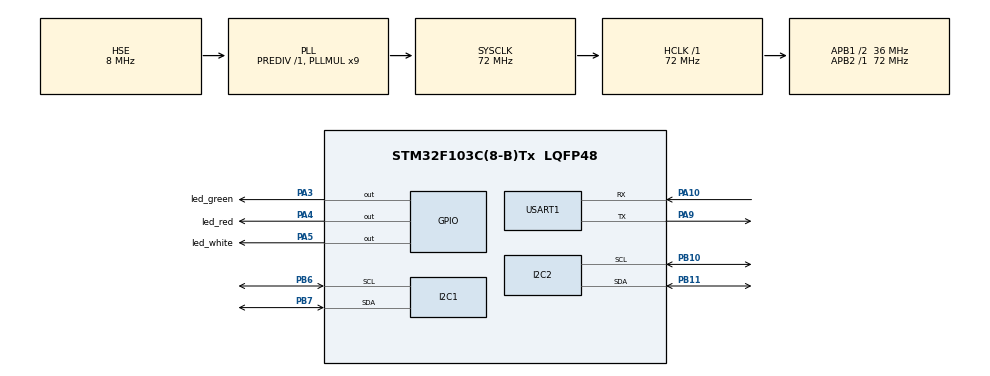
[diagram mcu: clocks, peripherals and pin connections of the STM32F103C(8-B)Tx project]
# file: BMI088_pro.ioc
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Mcu.Family=STM32F1
Mcu.Name=STM32F103C(8-B)Tx
Mcu.Package=LQFP48
NVIC.PriorityGroup=NVIC_PRIORITYGROUP_4
NVIC.TIM2_IRQn=true\:0\:0\:false\:false\:true\:true\:true
PA10.Mode=Asynchronous
PA10.Signal=USART1_RX
PA13.Mode=Trace_Asynchronous_SW
PA13.Signal=SYS_JTMS-SWDIO
PA14.Mode=Trace_Asynchronous_SW
PA14.Signal=SYS_JTCK-SWCLK
PA3.GPIO_Label=led_green
PA3.GPIO_ModeDefaultOutputPP=GPIO_MODE_OUTPUT_OD
PA3.GPIO_PuPd=GPIO_NOPULL
PA3.PinState=GPIO_PIN_SET
PA3.Signal=GPIO_Output
PA4.GPIO_Label=led_red
PA4.GPIO_ModeDefaultOutputPP=GPIO_MODE_OUTPUT_OD
PA4.GPIO_PuPd=GPIO_NOPULL
PA4.PinState=GPIO_PIN_SET
PA4.Signal=GPIO_Output
PA5.GPIO_Label=led_white
PA5.GPIO_ModeDefaultOutputPP=GPIO_MODE_OUTPUT_OD
PA5.GPIO_PuPd=GPIO_NOPULL
PA5.PinState=GPIO_PIN_SET
PA5.Signal=GPIO_Output
PA9.Mode=Asynchronous
PA9.Signal=USART1_TX
PB10.Mode=I2C
PB10.Signal=I2C2_SCL
PB11.Mode=I2C
PB11.Signal=I2C2_SDA
PB3.Mode=Trace_Asynchronous_SW
PB3.Signal=SYS_JTDO-TRACESWO
PB6.Mode=I2C
PB6.Signal=I2C1_SCL
PB7.Mode=I2C
PB7.Signal=I2C1_SDA
PC14-OSC32_IN.Mode=LSE-External-Oscillator
PC14-OSC32_IN.Signal=RCC_OSC32_IN
PC15-OSC32_OUT.Mode=LSE-External-Oscillator
PC15-OSC32_OUT.Signal=RCC_OSC32_OUT
PD0-OSC_IN.Mode=HSE-External-Oscillator
PD0-OSC_IN.Signal=RCC_OSC_IN
PD1-OSC_OUT.Mode=HSE-External-Oscillator
PD1-OSC_OUT.Signal=RCC_OSC_OUT
ProjectManager.HeapSize=0x200
ProjectManager.StackSize=0x400
ProjectManager.TargetToolchain=STM32CubeIDE
RCC.AHBFreq_Value=72000000
RCC.APB1CLKDivider=RCC_HCLK_DIV2
RCC.APB1Freq_Value=36000000
RCC.APB1TimFreq_Value=72000000
RCC.APB2Freq_Value=72000000
RCC.APB2TimFreq_Value=72000000
RCC.HCLKFreq_Value=72000000
RCC.PLLMUL=RCC_PLL_MUL9
RCC.PLLSourceVirtual=RCC_PLLSOURCE_HSE
RCC.SYSCLKFreq_VALUE=72000000
RCC.SYSCLKSource=RCC_SYSCLKSOURCE_PLLCLK
RCC.USBFreq_Value=72000000
TIM2.AutoReloadPreload=TIM_AUTORELOAD_PRELOAD_ENABLE
TIM2.Period=999
TIM2.Prescaler=7199
USART1.VirtualMode=VM_ASYNC
VP_TIM2_VS_ClockSourceINT.Mode=Internal
board=custom

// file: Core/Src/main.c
/* USER CODE BEGIN Header */
/**
  ******************************************************************************
  * @file           : main.c
  * @brief          : Main program body
  ******************************************************************************
  * @attention
  *
  * Copyright (c) 2022 STMicroelectronics.
  * All rights reserved.
  *
  * This software is licensed under terms that can be found in the LICENSE file
  * in the root directory of this software component.
  * If no LICENSE file comes with this software, it is provided AS-IS.
  *
  ******************************************************************************
  */
/* USER CODE END Header */
#include "main.h"

/* USER CODE BEGIN Includes */
#include "bmi08x.h"
#include "stdio.h"
#include "bmm150.h"
#include <math.h>
/* USER CODE END Includes */

/* USER CODE BEGIN PTD */
#ifdef __GNUC__
#define PUTCHAR_PROTOTYPE int __io_putchar(int ch)
#else
#define PUTCHAR_PROTOTYPE int fputc(int ch. FILE *f)
#endif /* __GNUC__ */

/* USER CODE END PTD */

I2C_HandleTypeDef hi2c1;
I2C_HandleTypeDef hi2c2;

TIM_HandleTypeDef htim2;

UART_HandleTypeDef huart1;

void SystemClock_Config(void);
static void MX_GPIO_Init(void);
static void MX_I2C1_Init(void);
static void MX_I2C2_Init(void);
static void MX_USART1_UART_Init(void);
static void MX_TIM2_Init(void);
/* USER CODE BEGIN PFP */
BMI08X_INTF_RET_TYPE user_i2c_read(uint8_t reg_addr, uint8_t *reg_data, uint32_t len, void *intf_ptr);
BMI08X_INTF_RET_TYPE user_i2c_write(uint8_t reg_addr, const uint8_t *reg_data, uint32_t len,void *intf_ptr);

BMM150_INTF_RET_TYPE user_i2c2_read(uint8_t reg_addr, uint8_t *reg_data, uint32_t length,void *intf_ptr);
BMM150_INTF_RET_TYPE user_i2c2_write(uint8_t reg_addr, const uint8_t *reg_data, uint32_t length,void *intf_ptr);

void user_delay_us(uint32_t period, void *intf_ptr);
/* USER CODE END PFP */

/* USER CODE BEGIN 0 */
BMI08X_INTF_RET_TYPE user_i2c_read(uint8_t reg_addr, uint8_t *reg_data, uint32_t len, void *intf_ptr){
    uint8_t  tmp  = *(uint8_t*)intf_ptr;
    return HAL_I2C_Mem_Read(&hi2c2, ( uint16_t)tmp, (uint16_t)reg_addr, I2C_MEMADD_SIZE_8BIT, reg_data, (uint16_t)len, 1000);
}

BMI08X_INTF_RET_TYPE user_i2c_write(uint8_t reg_addr, const uint8_t *reg_data, uint32_t len,void *intf_ptr){
    uint8_t  tmp  = *(uint8_t*)intf_ptr;
    return HAL_I2C_Mem_Write(&hi2c2, ( uint16_t)tmp, (uint16_t)reg_addr, I2C_MEMADD_SIZE_8BIT, reg_data, (uint16_t)len, 1000);
}
void user_delay_us(uint32_t period, void *intf_ptr){
    HAL_Delay( period%1000 == 0?period/1000 : period/1000+1);
}

//重定向printf函数
PUTCHAR_PROTOTYPE
{
    HAL_UART_Transmit(&huart1,(uint8_t *)&ch,1,0xFFFF);//输出指向串口USART1
    return ch;
}

struct bmi08x_dev dev1;
/* USER CODE END 0 */

int main(void)
{

  /* MCU Configuration--------------------------------------------------------*/

  /* Reset of all peripherals, Initializes the Flash interface and the Systick. */
  HAL_Init();

  /* Configure the system clock */
  SystemClock_Config();

  /* Initialize all configured peripherals */
  MX_GPIO_Init();
  MX_I2C1_Init();
  MX_I2C2_Init();
  MX_USART1_UART_Init();
  MX_TIM2_Init();
  /* USER CODE BEGIN 2 */

  HAL_TIM_Base_Start_IT(&htim2);

  //初始化加速度计和陀螺仪
  uint8_t acc_dev_addr = BMI08X_ACCEL_I2C_ADDR_PRIMARY << 1 | 0;
  uint8_t gyro_dev_addr = BMI08X_GYRO_I2C_ADDR_SECONDARY << 1 | 0;

  dev1.intf_ptr_accel = &acc_dev_addr;
  dev1.intf_ptr_gyro = &gyro_dev_addr;
  dev1.intf = BMI08X_I2C_INTF;
  dev1.read = user_i2c_read;
  dev1.write = user_i2c_write;
  dev1.delay_us = user_delay_us;
  dev1.variant = BMI088_VARIANT;

  int8_t rslt1 = bmi08a_init(&dev1);
  int8_t rslt2 = bmi08g_init(&dev1);

  if(rslt1 == BMI08X_OK && rslt2 == BMI08X_OK){
      //状态指示灯
      HAL_GPIO_WritePin(led_green_GPIO_Port,led_green_Pin,0);

      //配置加速度计和陀螺仪参数
      dev1.accel_cfg.bw = BMI08X_ACCEL_BW_NORMAL;
      dev1.accel_cfg.odr = BMI08X_ACCEL_ODR_100_HZ;
      dev1.accel_cfg.range = BMI088_ACCEL_RANGE_6G;
      dev1.accel_cfg.power = BMI08X_ACCEL_PM_ACTIVE;
      bmi08a_set_power_mode(&dev1);
      bmi08a_set_meas_conf(&dev1);

      dev1.gyro_cfg.power = BMI08X_GYRO_PM_NORMAL;
      bmi08g_set_power_mode(&dev1);
      dev1.gyro_cfg.odr = BMI08X_GYRO_BW_23_ODR_200_HZ;
      dev1.gyro_cfg.range = BMI08X_GYRO_RANGE_1000_DPS;
      dev1.gyro_cfg.bw = BMI08X_GYRO_BW_23_ODR_200_HZ;
      bmi08g_set_meas_conf(&dev1);

  }else{
      while(1){
          //状态指示灯
          HAL_GPIO_WritePin(led_red_GPIO_Port,led_red_Pin,0);
          HAL_Delay(300);
          HAL_GPIO_WritePin(led_red_GPIO_Port,led_red_Pin,1);
          HAL_Delay(300);
      }
  }

  /* USER CODE END 2 */

  /* Infinite loop */
  while (1)
  {

  }
}

void SystemClock_Config(void)
{
  RCC_OscInitTypeDef RCC_OscInitStruct = {0};
  RCC_ClkInitTypeDef RCC_ClkInitStruct = {0};

  /** Initializes the RCC Oscillators according to the specified parameters
  * in the RCC_OscInitTypeDef structure.
  */
  RCC_OscInitStruct.OscillatorType = RCC_OSCILLATORTYPE_HSE;
  RCC_OscInitStruct.HSEState = RCC_HSE_ON;
  RCC_OscInitStruct.HSEPredivValue = RCC_HSE_PREDIV_DIV1;
  RCC_OscInitStruct.HSIState = RCC_HSI_ON;
  RCC_OscInitStruct.PLL.PLLState = RCC_PLL_ON;
  RCC_OscInitStruct.PLL.PLLSource = RCC_PLLSOURCE_HSE;
  RCC_OscInitStruct.PLL.PLLMUL = RCC_PLL_MUL9;
  if (HAL_RCC_OscConfig(&RCC_OscInitStruct) != HAL_OK)
  {
    Error_Handler();
  }
  /** Initializes the CPU, AHB and APB buses clocks
  */
  RCC_ClkInitStruct.ClockType = RCC_CLOCKTYPE_HCLK|RCC_CLOCKTYPE_SYSCLK
                              |RCC_CLOCKTYPE_PCLK1|RCC_CLOCKTYPE_PCLK2;
  RCC_ClkInitStruct.SYSCLKSource = RCC_SYSCLKSOURCE_PLLCLK;
  RCC_ClkInitStruct.AHBCLKDivider = RCC_SYSCLK_DIV1;
  RCC_ClkInitStruct.APB1CLKDivider = RCC_HCLK_DIV2;
  RCC_ClkInitStruct.APB2CLKDivider = RCC_HCLK_DIV1;

  if (HAL_RCC_ClockConfig(&RCC_ClkInitStruct, FLASH_LATENCY_2) != HAL_OK)
  {
    Error_Handler();
  }
}

static void MX_I2C1_Init(void)
{

  hi2c1.Instance = I2C1;
  hi2c1.Init.ClockSpeed = 100000;
  hi2c1.Init.DutyCycle = I2C_DUTYCYCLE_2;
  hi2c1.Init.OwnAddress1 = 0;
  hi2c1.Init.AddressingMode = I2C_ADDRESSINGMODE_7BIT;
  hi2c1.Init.DualAddressMode = I2C_DUALADDRESS_DISABLE;
  hi2c1.Init.OwnAddress2 = 0;
  hi2c1.Init.GeneralCallMode = I2C_GENERALCALL_DISABLE;
  hi2c1.Init.NoStretchMode = I2C_NOSTRETCH_DISABLE;
  if (HAL_I2C_Init(&hi2c1) != HAL_OK)
  {
    Error_Handler();
  }

}

static void MX_I2C2_Init(void)
{

  hi2c2.Instance = I2C2;
  hi2c2.Init.ClockSpeed = 100000;
  hi2c2.Init.DutyCycle = I2C_DUTYCYCLE_2;
  hi2c2.Init.OwnAddress1 = 0;
  hi2c2.Init.AddressingMode = I2C_ADDRESSINGMODE_7BIT;
  hi2c2.Init.DualAddressMode = I2C_DUALADDRESS_DISABLE;
  hi2c2.Init.OwnAddress2 = 0;
  hi2c2.Init.GeneralCallMode = I2C_GENERALCALL_DISABLE;
  hi2c2.Init.NoStretchMode = I2C_NOSTRETCH_DISABLE;
  if (HAL_I2C_Init(&hi2c2) != HAL_OK)
  {
    Error_Handler();
  }

}

static void MX_TIM2_Init(void)
{

  TIM_ClockConfigTypeDef sClockSourceConfig = {0};
  TIM_MasterConfigTypeDef sMasterConfig = {0};

  htim2.Instance = TIM2;
  htim2.Init.Prescaler = 7199;
  htim2.Init.CounterMode = TIM_COUNTERMODE_UP;
  htim2.Init.Period = 999;
  htim2.Init.ClockDivision = TIM_CLOCKDIVISION_DIV1;
  htim2.Init.AutoReloadPreload = TIM_AUTORELOAD_PRELOAD_ENABLE;
  if (HAL_TIM_Base_Init(&htim2) != HAL_OK)
  {
    Error_Handler();
  }
  sClockSourceConfig.ClockSource = TIM_CLOCKSOURCE_INTERNAL;
  if (HAL_TIM_ConfigClockSource(&htim2, &sClockSourceConfig) != HAL_OK)
  {
    Error_Handler();
  }
  sMasterConfig.MasterOutputTrigger = TIM_TRGO_RESET;
  sMasterConfig.MasterSlaveMode = TIM_MASTERSLAVEMODE_DISABLE;
  if (HAL_TIMEx_MasterConfigSynchronization(&htim2, &sMasterConfig) != HAL_OK)
  {
    Error_Handler();
  }

}

static void MX_USART1_UART_Init(void)
{

  huart1.Instance = USART1;
  huart1.Init.BaudRate = 115200;
  huart1.Init.WordLength = UART_WORDLENGTH_8B;
  huart1.Init.StopBits = UART_STOPBITS_1;
  huart1.Init.Parity = UART_PARITY_NONE;
  huart1.Init.Mode = UART_MODE_TX_RX;
  huart1.Init.HwFlowCtl = UART_HWCONTROL_NONE;
  huart1.Init.OverSampling = UART_OVERSAMPLING_16;
  if (HAL_UART_Init(&huart1) != HAL_OK)
  {
    Error_Handler();
  }

}

static void MX_GPIO_Init(void)
{
  GPIO_InitTypeDef GPIO_InitStruct = {0};

  /* GPIO Ports Clock Enable */
  __HAL_RCC_GPIOC_CLK_ENABLE();
  __HAL_RCC_GPIOD_CLK_ENABLE();
  __HAL_RCC_GPIOA_CLK_ENABLE();
  __HAL_RCC_GPIOB_CLK_ENABLE();

  /*Configure GPIO pin Output Level */
  HAL_GPIO_WritePin(GPIOA, led_green_Pin|led_red_Pin|led_white_Pin, GPIO_PIN_SET);

  /*Configure GPIO pins : led_green_Pin led_red_Pin led_white_Pin */
  GPIO_InitStruct.Pin = led_green_Pin|led_red_Pin|led_white_Pin;
  GPIO_InitStruct.Mode = GPIO_MODE_OUTPUT_OD;
  GPIO_InitStruct.Pull = GPIO_NOPULL;
  GPIO_InitStruct.Speed = GPIO_SPEED_FREQ_LOW;
  HAL_GPIO_Init(GPIOA, &GPIO_InitStruct);

}

/* USER CODE BEGIN 4 */

void HAL_TIM_PeriodElapsedCallback(TIM_HandleTypeDef *htim){

    if(htim == &htim2){

        uint32_t user_sampling_time;
        int32_t sensor_temp;
        float sensor_temp_f;
        struct bmi08x_sensor_data user_accel_bmi088;
        struct bmi08x_sensor_data user_gyro_bmi088;

        bmi08a_get_sensor_time(&dev1, &user_sampling_time);
        bmi08a_get_sensor_temperature(&dev1,&sensor_temp);
        bmi08a_get_data(&user_accel_bmi088, &dev1);
        bmi08g_get_data(&user_gyro_bmi088, &dev1);
        sensor_temp_f = (float)(sensor_temp/1000.0);

        int a_x = user_accel_bmi088.x * 6000/32768;
        int a_y = user_accel_bmi088.y * 6000/32768;
        int a_z = user_accel_bmi088.z * 6000/32768;
//        printf("time=%lu,t_p=%f,a_x=%d,a_y=%d,a_z=%d,g_x=%d,g_y=%d,g_z=%d,\r\n",user_sampling_time,sensor_temp_f,a_x,a_y,a_z,\
//        user_gyro_bmi088.x,user_gyro_bmi088.y,user_gyro_bmi088.z);

        printf("%d\r\n",a_z);
        HAL_GPIO_TogglePin(led_white_GPIO_Port, led_white_Pin);
    }

}

/* USER CODE END 4 */

void Error_Handler(void)
{
  __disable_irq();
  while (1)
  {
  }
}
